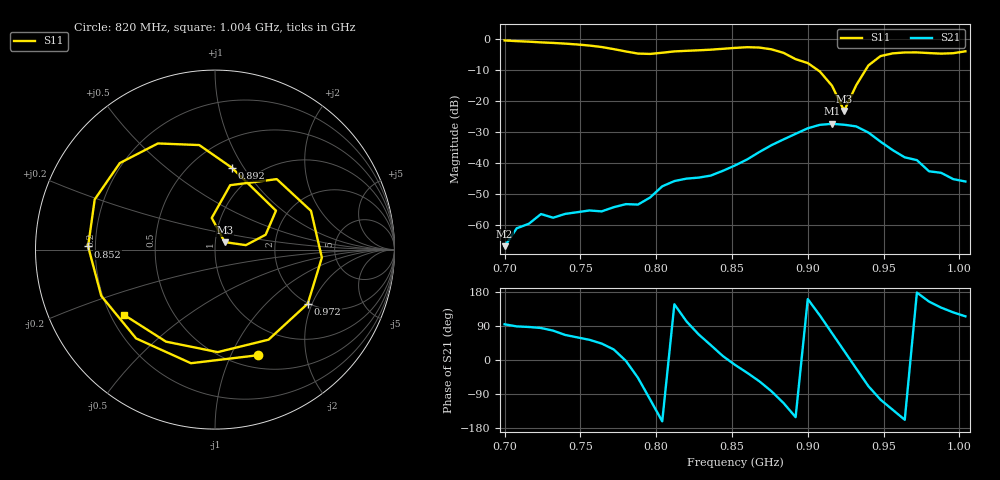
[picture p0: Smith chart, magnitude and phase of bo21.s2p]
# Hz S RI R 50
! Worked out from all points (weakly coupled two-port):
!   39 points, 700 MHz to 1.004 GHz, reference 50 ohm
!   highest |S21| = -27.49 dB at 916 MHz (marker M1); lowest = -66.9 dB at 700 MHz (marker M2)
!   lowest |S11| = -23.3 dB at 924 MHz (marker M3), VSWR 1.15, Z = 55.5 + j4.65 ohm
!   |S11| at or under -10 dB: 906.2 MHz to 938.3 MHz (32.17 MHz wide, 3.49 % of centre)
!   S12 and S22 are empty: the file has one direction only
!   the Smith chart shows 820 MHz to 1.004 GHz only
!   S11 on the Smith chart (normalised r, x): 820 MHz: 0.64, -1.27; 852 MHz: 0.17, +0.01; 892 MHz: 0.76, +0.89; 972 MHz: 1.99, -1.86; 1.004 GHz: 0.25, -0.30
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7e8  0.7682 0.5282  -3.33e-05 0.000449  0 0  0 0
7.24e8  0.8295 -0.2569  0.000143 0.00148  0 0  0 0
7.4e8  0.444 -0.6998  0.000605 0.00136  0 0  0 0
7.56e8  -0.197 -0.7461  0.00102 0.00136  0 0  0 0
7.72e8  -0.6521 -0.1785  0.00169 0.000892  0 0  0 0
7.8e8  -0.5707 0.2405  0.00214 -8.38e-05  0 0  0 0
7.88e8  -0.2125 0.5322  0.00144 -0.00154  0 0  0 0
7.96e8  0.2723 0.4958  -0.000672 -0.00266  0 0  0 0
8.04e8  0.5765 0.1305  -0.00395 -0.00129  0 0  0 0
8.2e8  0.2373 -0.5887  -0.00114 0.00541  0 0  0 0
8.36e8  -0.4396 -0.4949  0.00478 0.00392  0 0  0 0
8.52e8  -0.7071 0.0178  0.00878 -0.002  0 0  0 0
8.76e8  -0.318 0.5915  0.00257 -0.0189  0 0  0 0
8.92e8  0.0946 0.4558  -0.0255 -0.0142  0 0  0 0
9.08e8  0.2822 0.0828  -0.0188 0.0361  0 0  0 0
9.16e8  0.172 0.0249  0.0139 0.0399  0 0  0 0
9.24e8  0.0542 0.0417  0.0373 0.0167  0 0  0 0
9.4e8  0.0845 0.3588  0.0109 -0.0285  0 0  0 0
9.56e8  0.5349 0.2157  -0.0105 -0.012  0 0  0 0
9.72e8  0.5172 -0.3006  -0.011 0.000396  0 0  0 0
9.88e8  0.015 -0.5712  -0.00511 0.00457  0 0  0 0
1.004e9  -0.5058 -0.3643  -0.00212 0.00449  0 0  0 0
